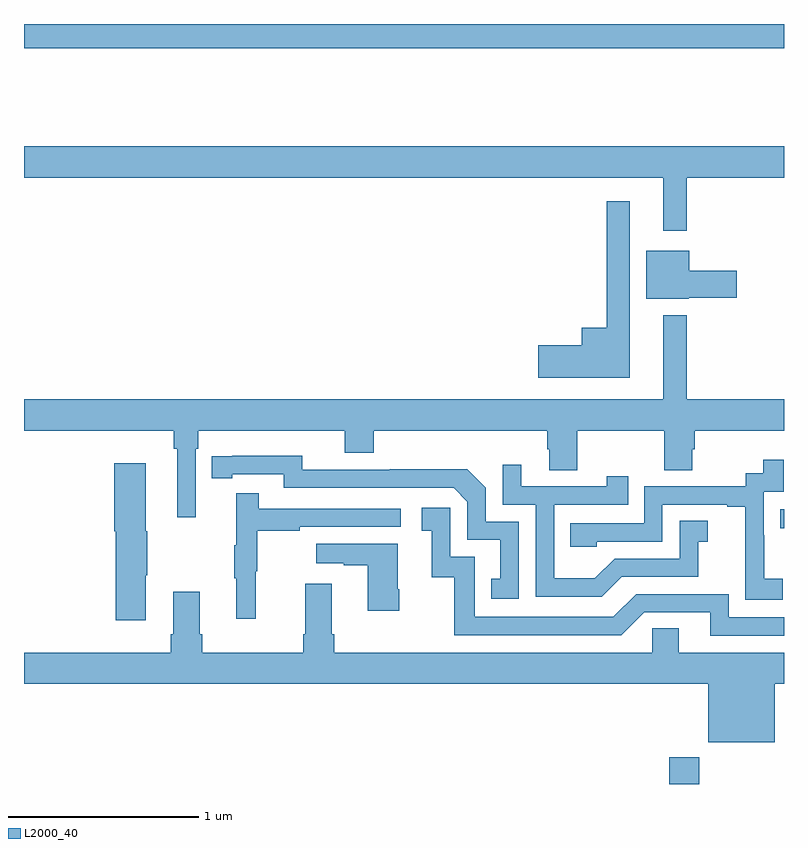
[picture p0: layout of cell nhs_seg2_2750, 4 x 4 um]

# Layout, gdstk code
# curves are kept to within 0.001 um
import gdstk
lib = gdstk.Library(unit=1e-6, precision=1e-09)
def R(c, l, rs):  # rectangles x0, y0, x1, y1
    for r in rs: c.add(gdstk.rectangle(r[:2], r[2:], *l))
def P(c, l, *ps):  # polygons
    for p in ps: c.add(gdstk.Polygon(p, *l))
L2000_40 = (2000, 40)

nhs_seg2_2750 = lib.new_cell('nhs_seg2_2750')
R(nhs_seg2_2750, L2000_40, [(258.395,621.8,258.555,621.94), (258.979,623.146,259,623.247), (255,625.672,259,625.8)])
P(nhs_seg2_2750, L2000_40, [(258.487,624.992),(259,624.992),(259,625.156),(255,625.156),(255,624.992),(258.365,624.992),(258.365,624.711),(258.487,624.711)],
  [(258.187,624.868),(258.066,624.868),(258.066,624.202),(257.936,624.202),(257.936,624.11),(257.706,624.11),(257.706,623.939),(258.187,623.939)],
  [(258.498,624.359),(258.751,624.359),(258.751,624.501),(258.502,624.501),(258.502,624.607),(258.275,624.607),(258.275,624.353),(258.498,624.353)],
  [(255.903,623.564),(255.917,623.564),(255.917,623.66),(256.688,623.66),(256.688,623.543),(256.841,623.543),(256.841,623.66),(257.753,623.66),(257.753,623.562),(257.765,623.562),(257.765,623.452),(257.913,623.452),(257.913,623.66),(258.37,623.66),(258.37,623.452),(258.517,623.452),(258.517,623.562),(258.529,623.562),(258.529,623.66),(259,623.66),(259,623.824),(258.487,623.824),(258.487,624.268),(258.365,624.268),(258.365,623.824),(255,623.824),(255,623.66),(255.787,623.66),(255.787,623.564),(255.806,623.564),(255.806,623.205),(255.903,623.205)],
  [(257.604,623.181),(257.43,623.181),(257.43,623.358),(257.332,623.456),(256.924,623.456),(256.924,623.454),(256.464,623.454),(256.464,623.527),(255.988,623.526),(255.988,623.41),(256.096,623.41),(256.096,623.43),(256.368,623.43),(256.368,623.358),(257.262,623.358),(257.334,623.286),(257.334,623.085),(257.507,623.085),(257.507,622.881),(257.458,622.881),(257.458,622.776),(257.604,622.776)],
  [(258.994,622.879),(258.896,622.879),(258.896,623.108),(258.894,623.108),(258.894,623.337),(258.999,623.337),(258.999,623.506),(258.891,623.506),(258.891,623.436),(258.798,623.436),(258.798,623.367),(258.264,623.367),(258.264,623.172),(257.875,623.172),(257.875,623.049),(258.015,623.049),(258.015,623.076),(258.36,623.076),(258.36,623.271),(258.701,623.271),(258.701,623.259),(258.797,623.259),(258.797,622.975),(258.796,622.975),(258.796,622.769),(258.994,622.769)],
  [(255.64,622.9),(255.648,622.9),(255.648,623.13),(255.64,623.13),(255.64,623.488),(255.476,623.488),(255.476,623.13),(255.482,623.13),(255.482,622.662),(255.64,622.662)],
  [(258.145,622.89),(258.549,622.89),(258.549,623.075),(258.598,623.075),(258.598,623.185),(258.45,623.185),(258.45,622.986),(258.108,622.986),(258.004,622.882),(257.79,622.882),(257.79,623.271),(258.179,623.271),(258.179,623.419),(258.068,623.419),(258.068,623.367),(257.617,623.367),(257.617,623.479),(257.52,623.479),(257.52,623.271),(257.694,623.271),(257.694,622.785),(258.04,622.785)],
  [(256.22,622.92),(256.228,622.92),(256.228,623.134),(256.451,623.134),(256.451,623.154),(256.984,623.154),(256.984,623.25),(256.235,623.25),(256.235,623.329),(256.118,623.329),(256.118,623.057),(256.107,623.057),(256.107,622.883),(256.118,622.883),(256.118,622.671),(256.22,622.671)],
  [(259,622.677),(258.708,622.677),(258.708,622.8),(258.222,622.8),(258.102,622.68),(257.373,622.68),(257.373,622.995),(257.244,622.995),(257.244,623.254),(257.094,623.254),(257.094,623.133),(257.147,623.133),(257.147,622.887),(257.265,622.887),(257.265,622.584),(258.144,622.584),(258.264,622.704),(258.611,622.704),(258.611,622.581),(259,622.581)],
  [(256.974,622.825),(256.966,622.825),(256.966,623.065),(256.539,623.065),(256.539,622.961),(256.682,622.961),(256.682,622.951),(256.808,622.951),(256.808,622.713),(256.974,622.713)],
  [(258.952,622.328),(259,622.328),(259,622.492),(258.445,622.492),(258.445,622.619),(258.306,622.619),(258.306,622.492),(256.634,622.492),(256.634,622.588),(256.621,622.588),(256.621,622.855),(256.481,622.855),(256.481,622.588),(256.469,622.588),(256.469,622.492),(255.938,622.492),(255.938,622.588),(255.925,622.588),(255.925,622.813),(255.785,622.813),(255.785,622.588),(255.773,622.588),(255.773,622.492),(255,622.492),(255,622.328),(258.602,622.328),(258.602,622.019),(258.952,622.019)])

lib.write_gds('nhs_seg2_2750.gds')
